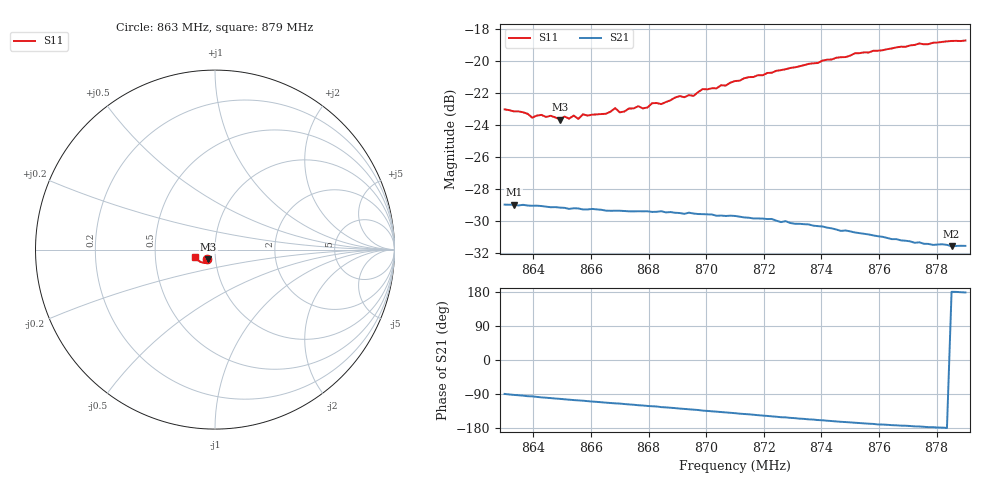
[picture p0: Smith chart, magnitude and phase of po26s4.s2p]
# HZ S RI R 50
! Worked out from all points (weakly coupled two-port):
!   101 points, 863 MHz to 879 MHz, reference 50 ohm
!   highest |S21| = -28.98 dB at 863.32 MHz (marker M1); lowest = -31.6 dB at 878.52 MHz (marker M2)
!   lowest |S11| = -23.7 dB at 864.92 MHz (marker M3), VSWR 1.14, Z = 46.1 - j4.95 ohm
!   |S11| at or under -10 dB: start of sweep to end of sweep
!   S12 and S22 are empty: the file has one direction only
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8.63e8  -0.0461 -0.0535  0.000328 -0.0356  0 0  0 0
8.6332e8  -0.044 -0.0539  -0.00129 -0.0355  0 0  0 0
8.6364e8  -0.0433 -0.054  -0.0025 -0.0354  0 0  0 0
8.6396e8  -0.0404 -0.0529  -0.00366 -0.0351  0 0  0 0
8.6428e8  -0.0394 -0.0553  -0.0053 -0.0348  0 0  0 0
8.6492e8  -0.038 -0.0535  -0.00755 -0.034  0 0  0 0
8.654e8  -0.0383 -0.0556  -0.00942 -0.0333  0 0  0 0
8.6556e8  -0.0368 -0.0547  -0.00986 -0.0332  0 0  0 0
8.6572e8  -0.0367 -0.0574  -0.0103 -0.0328  0 0  0 0
8.6652e8  -0.0354 -0.0585  -0.0131 -0.0314  0 0  0 0
8.6684e8  -0.0381 -0.0602  -0.0141 -0.031  0 0  0 0
8.67e8  -0.0359 -0.0591  -0.0144 -0.0308  0 0  0 0
8.6764e8  -0.0369 -0.0621  -0.0166 -0.0296  0 0  0 0
8.6796e8  -0.0359 -0.062  -0.0176 -0.029  0 0  0 0
8.6812e8  -0.0375 -0.0636  -0.0179 -0.0286  0 0  0 0
8.6844e8  -0.037 -0.0633  -0.0191 -0.028  0 0  0 0
8.6908e8  -0.0398 -0.0668  -0.0207 -0.0263  0 0  0 0
8.71e8  -0.048 -0.0721  -0.0252 -0.0209  0 0  0 0
8.7372e8  -0.0663 -0.0728  -0.0282 -0.0118  0 0  0 0
8.7644e8  -0.0904 -0.0619  -0.0275 -0.00392  0 0  0 0
8.7852e8  -0.1063 -0.0455  -0.0264 2.8e-05  0 0  0 0
8.79e8  -0.1089 -0.04  -0.0264 0.000809  0 0  0 0
